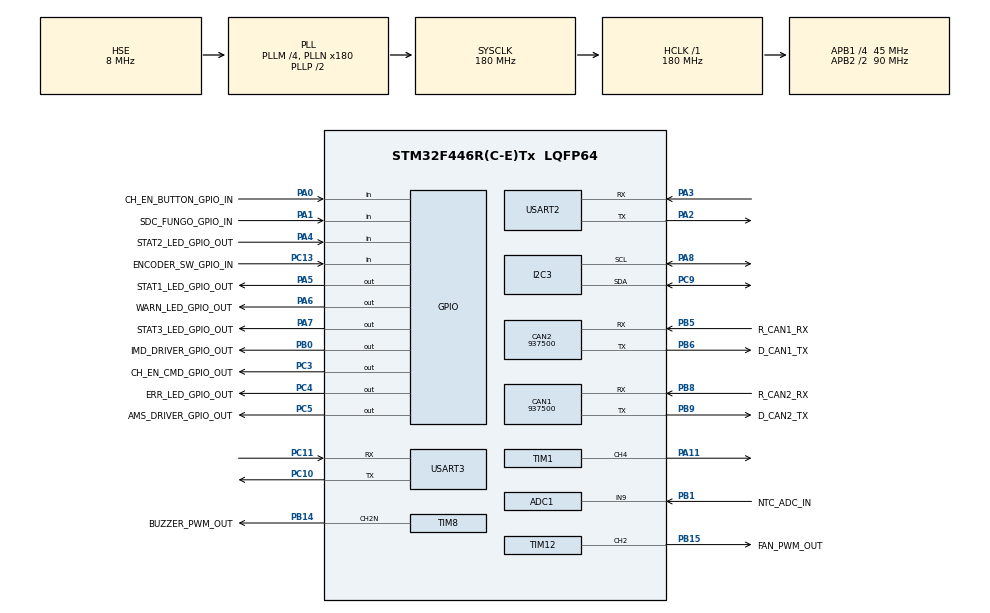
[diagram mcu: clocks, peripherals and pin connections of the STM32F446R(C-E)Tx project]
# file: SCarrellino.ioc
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ADC1.Channel-1\#ChannelRegularConversion=ADC_CHANNEL_9
ADC1.ContinuousConvMode=DISABLE
ADC1.DMAContinuousRequests=ENABLE
ADC1.ExternalTrigConv=ADC_EXTERNALTRIGCONV_T3_TRGO
ADC1.NbrOfConversionFlag=1
ADC1.Rank-1\#ChannelRegularConversion=1
ADC1.Resolution=ADC_RESOLUTION_12B
ADC1.SamplingTime-1\#ChannelRegularConversion=ADC_SAMPLETIME_3CYCLES
ADC1.master=1
CAN1.CalculateBaudRate=937500
CAN1.CalculateTimeBit=1066
CAN1.CalculateTimeQuantum=355.55555555555554
CAN2.CalculateBaudRate=937500
CAN2.CalculateTimeBit=1066
CAN2.CalculateTimeQuantum=355.55555555555554
Dma.ADC1.0.Direction=DMA_PERIPH_TO_MEMORY
Dma.ADC1.0.FIFOMode=DMA_FIFOMODE_DISABLE
Dma.ADC1.0.Instance=DMA2_Stream0
Dma.ADC1.0.MemDataAlignment=DMA_MDATAALIGN_HALFWORD
Dma.ADC1.0.MemInc=DMA_MINC_ENABLE
Dma.ADC1.0.Mode=DMA_NORMAL
Dma.ADC1.0.PeriphDataAlignment=DMA_PDATAALIGN_HALFWORD
Dma.ADC1.0.PeriphInc=DMA_PINC_DISABLE
Dma.ADC1.0.Priority=DMA_PRIORITY_LOW
Dma.Request0=ADC1
Mcu.Family=STM32F4
Mcu.Name=STM32F446R(C-E)Tx
Mcu.Package=LQFP64
NVIC.ADC_IRQn=true\:0\:0\:false\:false\:true\:true\:true\:true
NVIC.DMA2_Stream0_IRQn=true\:0\:0\:false\:false\:true\:false\:true\:true
NVIC.PriorityGroup=NVIC_PRIORITYGROUP_4
NVIC.TIM3_IRQn=true\:0\:0\:false\:false\:true\:true\:true\:true
NVIC.USART2_IRQn=true\:0\:0\:false\:false\:true\:true\:true\:true
PA0-WKUP.GPIO_Label=CH_EN_BUTTON_GPIO_IN
PA0-WKUP.Signal=GPIO_Input
PA1.GPIO_Label=SDC_FUNGO_GPIO_IN
PA1.Signal=GPIO_Input
PA11.GPIO_ModeDefaultPP=GPIO_MODE_AF_PP
PA11.GPIO_PuPd=GPIO_NOPULL
PA11.GPIO_Speed=GPIO_SPEED_FREQ_LOW
PA11.Signal=S_TIM1_CH4
PA13.Mode=JTAG_4_pins
PA13.Signal=SYS_JTMS-SWDIO
PA14.Mode=JTAG_4_pins
PA14.Signal=SYS_JTCK-SWCLK
PA15.Mode=JTAG_4_pins
PA15.Signal=SYS_JTDI
PA2.Mode=Asynchronous
PA2.Signal=USART2_TX
PA3.Mode=Asynchronous
PA3.Signal=USART2_RX
PA4.GPIO_Label=STAT2_LED_GPIO_OUT
PA4.Signal=GPIO_Input
PA5.GPIO_Label=STAT1_LED_GPIO_OUT
PA5.Signal=GPIO_Output
PA6.GPIO_Label=WARN_LED_GPIO_OUT
PA6.Signal=GPIO_Output
PA7.GPIO_Label=STAT3_LED_GPIO_OUT
PA7.Signal=GPIO_Output
PA8.Mode=I2C
PA8.Signal=I2C3_SCL
PB0.GPIO_Label=IMD_DRIVER_GPIO_OUT
PB0.Signal=GPIO_Output
PB1.GPIO_Label=NTC_ADC_IN
PB1.Signal=ADCx_IN9
PB14.GPIO_Label=BUZZER_PWM_OUT
PB14.Mode=PWM Generation2 CH2N
PB14.Signal=TIM8_CH2N
PB15.GPIO_Label=FAN_PWM_OUT
PB15.Signal=S_TIM12_CH2
PB3.Mode=JTAG_4_pins
PB3.Signal=SYS_JTDO-SWO
PB5.GPIO_Label=R_CAN1_RX
PB5.Mode=CAN_Activate
PB5.Signal=CAN2_RX
PB6.GPIO_Label=D_CAN1_TX
PB6.Mode=CAN_Activate
PB6.Signal=CAN2_TX
PB8.GPIO_Label=R_CAN2_RX
PB8.Mode=CAN_Activate
PB8.Signal=CAN1_RX
PB9.GPIO_Label=D_CAN2_TX
PB9.Mode=CAN_Activate
PB9.Signal=CAN1_TX
PC10.Mode=Asynchronous
PC10.Signal=USART3_TX
PC11.Mode=Asynchronous
PC11.Signal=USART3_RX
PC13.GPIO_Label=ENCODER_SW_GPIO_IN
PC13.Signal=GPIO_Input
PC3.GPIO_Label=CH_EN_CMD_GPIO_OUT
PC3.Signal=GPIO_Output
PC4.GPIO_Label=ERR_LED_GPIO_OUT
PC4.Signal=GPIO_Output
PC5.GPIO_Label=AMS_DRIVER_GPIO_OUT
PC5.Signal=GPIO_Output
PC9.Mode=I2C
PC9.Signal=I2C3_SDA
PH0-OSC_IN.Mode=HSE-External-Oscillator
PH0-OSC_IN.Signal=RCC_OSC_IN
PH1-OSC_OUT.Mode=HSE-External-Oscillator
PH1-OSC_OUT.Signal=RCC_OSC_OUT
ProjectManager.HeapSize=0x200
ProjectManager.StackSize=0x400
ProjectManager.TargetToolchain=Makefile
RCC.AHBFreq_Value=180000000
RCC.APB1CLKDivider=RCC_HCLK_DIV4
RCC.APB1Freq_Value=45000000
RCC.APB1TimFreq_Value=90000000
RCC.APB2CLKDivider=RCC_HCLK_DIV2
RCC.APB2Freq_Value=90000000
RCC.APB2TimFreq_Value=180000000
RCC.CortexFreq_Value=180000000
RCC.HCLKFreq_Value=180000000
RCC.HSE_VALUE=8000000
RCC.PLLM=4
RCC.PLLN=180
RCC.PLLSourceVirtual=RCC_PLLSOURCE_HSE
RCC.SYSCLKFreq_VALUE=180000000
RCC.SYSCLKSource=RCC_SYSCLKSOURCE_PLLCLK
RCC.USBFreq_Value=180000000
RCC.VCOOutputFreq_Value=360000000
SH.ADCx_IN9.0=ADC1_IN9,IN9
SH.S_TIM12_CH2.0=TIM12_CH2,PWM Generation2 CH2
SH.S_TIM1_CH4.0=TIM1_CH4,PWM Generation4 CH4
TIM1.Channel-Output\ Compare3\ No\ Output=TIM_CHANNEL_3
TIM1.Channel-PWM\ Generation4\ CH4=TIM_CHANNEL_4
TIM12.Channel-PWM\ Generation2\ CH2=TIM_CHANNEL_2
TIM3.Period=5000
TIM3.Prescaler=17999
TIM3.TIM_MasterOutputTrigger=TIM_TRGO_UPDATE
TIM8.Channel-PWM\ Generation2\ CH2N=TIM_CHANNEL_2
USART2.VirtualMode=VM_ASYNC
USART3.VirtualMode=VM_ASYNC
VP_TIM1_VS_ClockSourceINT.Mode=Internal
VP_TIM1_VS_no_output3.Mode=Output Compare3 No Output
VP_TIM3_VS_ClockSourceINT.Mode=Internal
VP_TIM8_VS_ClockSourceINT.Mode=Internal
VP_TIM9_VS_ClockSourceINT.Mode=Internal
board=custom

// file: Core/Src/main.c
/* USER CODE BEGIN Header */
/**
  ******************************************************************************
  * @file           : main.c
  * @brief          : Main program body
  ******************************************************************************
  * @attention
  *
  * Copyright (c) 2024 STMicroelectronics.
  * All rights reserved.
  *
  * This software is licensed under terms that can be found in the LICENSE file
  * in the root directory of this software component.
  * If no LICENSE file comes with this software, it is provided AS-IS.
  *
  ******************************************************************************
  */
/* USER CODE END Header */
#include "main.h"
#include "adc.h"
#include "can.h"
#include "dma.h"
#include "i2c.h"
#include "tim.h"
#include "usart.h"
#include "gpio.h"

/* USER CODE BEGIN Includes */
#include "fsm.h"
#include "scarrellino_fsm.h"
#include "stdbool.h"
#include "string.h"
/* USER CODE END Includes */

/* USER CODE BEGIN PV */
  extern ADC_ChannelConfTypeDef sConfig;

/* USER CODE END PV */

void SystemClock_Config(void);

int main(void)
{
  /* USER CODE BEGIN 1 */

bool start_fsm = 0;
volatile float ntc_voltage;
volatile uint8_t ntc_temp;

  /* USER CODE END 1 */

  /* MCU Configuration--------------------------------------------------------*/

  /* Reset of all peripherals, Initializes the Flash interface and the Systick. */
  HAL_Init();

  /* Configure the system clock */
  SystemClock_Config();

  /* Initialize all configured peripherals */
  MX_GPIO_Init();
  MX_DMA_Init();
  MX_CAN1_Init();
  MX_CAN2_Init();
  MX_I2C3_Init();
  MX_TIM9_Init();
  MX_USART3_UART_Init();
  MX_TIM1_Init();
  MX_ADC1_Init();
  MX_TIM8_Init();
  MX_TIM12_Init();
  MX_TIM3_Init();
  MX_USART2_UART_Init();
  /* USER CODE BEGIN 2 */
HAL_ADC_ConfigChannel(&hadc1, &sConfig);
HAL_TIM_OC_Start_IT(&htim3 ,TIM_CHANNEL_4);
HAL_ADC_Start_DMA(&hadc1, (uint32_t) &ntc_voltage, 1);

//fsm
  FSM_HandleTypeDef hfsm;
  uint8_t n_events = 0;

HAL_GPIO_TogglePin(ERR_LED_GPIO_OUT_GPIO_Port,ERR_LED_GPIO_OUT_Pin );
  if (FSM_SCARRELLINO_FSM_init(&hfsm, n_events, run_callback_1, transition_callback_1) != STMLIBS_OK){
  //  HAL_UART_Transmit(&LOG_UART, (uint8_t *) "errore init fsm\n", strlen("errore init fsm\n"),10);
  //}
  if (FSM_start(&hfsm) != STMLIBS_OK){
    HAL_UART_Transmit(&LOG_UART, (uint8_t *) "errore start fsm\n", strlen("errore start fsm\n"),10);
  }
    HAL_UART_Transmit(&LOG_UART, (uint8_t *) "prova\n", strlen("prova\n"),HAL_MAX_DELAY);

  /* USER CODE END 2 */

  /* Infinite loop */
  /* USER CODE BEGIN WHILE */
  while (1)
  {

   FSM_routine(&hfsm);

    /* USER CODE END WHILE */

  }
}}

void SystemClock_Config(void)
{
  RCC_OscInitTypeDef RCC_OscInitStruct = {0};
  RCC_ClkInitTypeDef RCC_ClkInitStruct = {0};

  /** Configure the main internal regulator output voltage
  */
  __HAL_RCC_PWR_CLK_ENABLE();
  __HAL_PWR_VOLTAGESCALING_CONFIG(PWR_REGULATOR_VOLTAGE_SCALE1);

  /** Initializes the RCC Oscillators according to the specified parameters
  * in the RCC_OscInitTypeDef structure.
  */
  RCC_OscInitStruct.OscillatorType = RCC_OSCILLATORTYPE_HSE;
  RCC_OscInitStruct.HSEState = RCC_HSE_ON;
  RCC_OscInitStruct.PLL.PLLState = RCC_PLL_ON;
  RCC_OscInitStruct.PLL.PLLSource = RCC_PLLSOURCE_HSE;
  RCC_OscInitStruct.PLL.PLLM = 4;
  RCC_OscInitStruct.PLL.PLLN = 180;
  RCC_OscInitStruct.PLL.PLLP = RCC_PLLP_DIV2;
  RCC_OscInitStruct.PLL.PLLQ = 2;
  RCC_OscInitStruct.PLL.PLLR = 2;
  if (HAL_RCC_OscConfig(&RCC_OscInitStruct) != HAL_OK)
  {
    Error_Handler();
  }

  /** Activate the Over-Drive mode
  */
  if (HAL_PWREx_EnableOverDrive() != HAL_OK)
  {
    Error_Handler();
  }

  /** Initializes the CPU, AHB and APB buses clocks
  */
  RCC_ClkInitStruct.ClockType = RCC_CLOCKTYPE_HCLK|RCC_CLOCKTYPE_SYSCLK
                              |RCC_CLOCKTYPE_PCLK1|RCC_CLOCKTYPE_PCLK2;
  RCC_ClkInitStruct.SYSCLKSource = RCC_SYSCLKSOURCE_PLLCLK;
  RCC_ClkInitStruct.AHBCLKDivider = RCC_SYSCLK_DIV1;
  RCC_ClkInitStruct.APB1CLKDivider = RCC_HCLK_DIV4;
  RCC_ClkInitStruct.APB2CLKDivider = RCC_HCLK_DIV2;

  if (HAL_RCC_ClockConfig(&RCC_ClkInitStruct, FLASH_LATENCY_5) != HAL_OK)
  {
    Error_Handler();
  }
}

void Error_Handler(void)
{
  __disable_irq();
  while (1)
  {
  }
}
